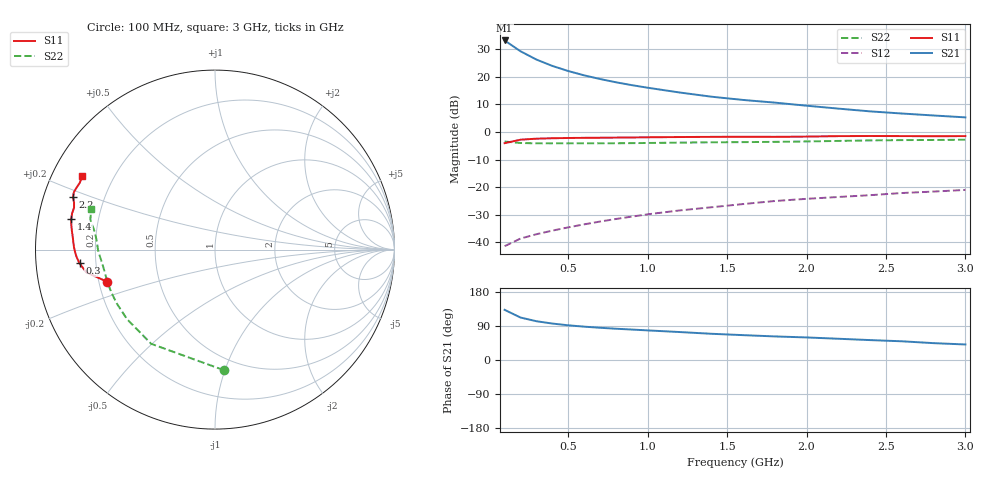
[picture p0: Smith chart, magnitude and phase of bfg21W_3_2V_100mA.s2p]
! Filename: 3_2100bfg21.001
! Title: BFG21W
! Bias: Vce=3.2V; Ic=100mA
! Company: Philips Semiconductors NL
! User: Quality&Reliability T&D
! Measure time: 10 Nov 1999 / 11:42:53
#  MHz  S  MA  R 50
! Freq  S11  S21  S12  S22  :
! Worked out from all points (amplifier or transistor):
!   20 points, 100 MHz to 3 GHz, reference 50 ohm
!   highest |S21| = 33.2 dB at 100 MHz (marker M1)
!   |S21| within 3 dB of that: start of sweep to 176.6 MHz
!   unconditionally stable (mu >= 1): 687.4 MHz to end of sweep
!   at 400 MHz: K = 0.86, MSG = 29.9 dB, |S12| = -35.7 dB
!   at 1.2 GHz: K = 1.06, MAG = 19.9 dB, |S12| = -28.4 dB
!   at 3 GHz: K = 1.05, MAG = 11.8 dB, |S12| = -21.0 dB
!   S11 on the Smith chart (normalised r, x): 100 MHz: 0.23, -0.14; 300 MHz: 0.14, -0.05; 1.4 GHz: 0.10, +0.10; 2.2 GHz: 0.09, +0.18; 3 GHz: 0.09, +0.26
100  0.6285 -163.5  45.73 132.4  0.008552 55.6  0.6733 -85.8
200  0.7281 -170.0  29.14 112.1  0.01175 51.0  0.6339 -124.1
300  0.7586 -174.2  20.62 102.3  0.01408 53.7  0.6249 -141.7
400  0.7726 -177.0  15.81 96.2  0.01635 57.3  0.6244 -151.6
500  0.7808 -179.3  12.78 91.6  0.01873 60.2  0.6248 -158.0
600  0.7861 178.9  10.67 88.0  0.02125 62.6  0.6255 -162.4
700  0.7898 177.2  9.16 85.1  0.02388 65.0  0.6259 -165.9
800  0.7938 175.6  7.994 82.5  0.02658 66.7  0.6273 -168.7
900  0.7984 174.1  7.088 80.4  0.02935 68.3  0.6301 -171.2
1000  0.8038 172.7  6.363 78.1  0.0323 69.2  0.634 -173.5
1200  0.8128 170.1  5.22 73.8  0.03794 70.6  0.6435 -177.0
1400  0.8187 168.0  4.381 69.2  0.04331 71.1  0.6522 -180.0
1600  0.8214 165.8  3.822 65.6  0.04956 71.5  0.657 177.4
1800  0.8193 163.4  3.417 62.2  0.05629 71.7  0.6647 174.7
2000  0.828 161.5  3.005 59.5  0.06165 72.2  0.6763 171.9
2200  0.8438 159.6  2.661 56.1  0.0666 72.1  0.691 169.6
2400  0.8487 157.8  2.372 52.5  0.07181 71.3  0.7056 167.8
2600  0.8453 156.0  2.169 49.4  0.07855 70.3  0.7149 166.3
2800  0.8405 153.7  1.997 44.5  0.08349 68.6  0.719 164.2
3000  0.8448 151.1  1.847 41.0  0.08939 67.7  0.7261 161.7
